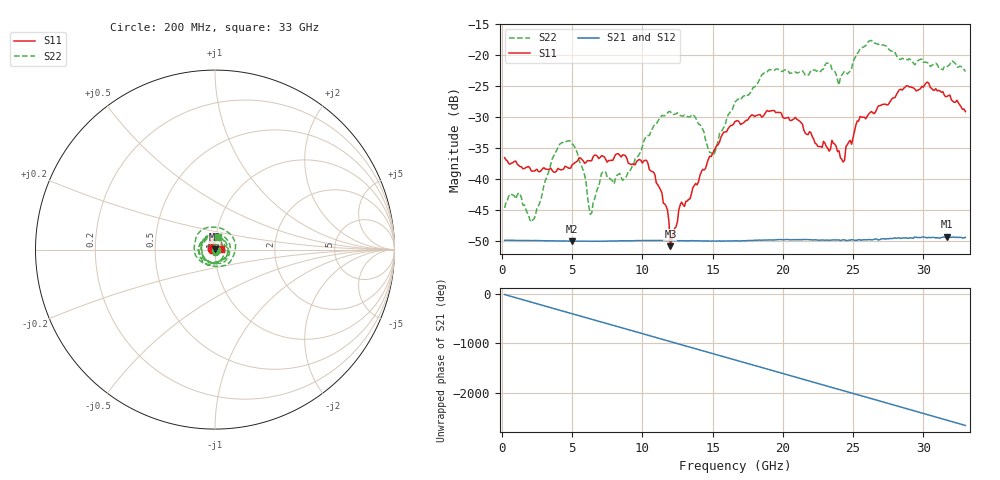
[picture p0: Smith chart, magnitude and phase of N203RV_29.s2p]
# GHZ S RI R 50
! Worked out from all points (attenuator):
!   329 points, 200 MHz to 33 GHz, reference 50 ohm
!   highest |S21| = -49.38 dB at 31.7 GHz (marker M1); lowest = -50.1 dB at 5 GHz (marker M2)
!   lowest |S11| = -50.9 dB at 12 GHz (marker M3), VSWR 1.01, Z = 49.7 + j0.0988 ohm
!   |S11| at or under -10 dB: start of sweep to end of sweep
!   |S22| runs from -47.0 to -17.6 dB; largest |S21 - S12| = 7.2e-05
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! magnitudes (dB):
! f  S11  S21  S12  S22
! 200 MHz  -36.6  -50.0  -49.9  -44.7
! 1.2 GHz  -37.8  -50.0  -49.9  -42.3
! 2.1 GHz  -38.7  -50.0  -50.0  -47.0
! 4.1 GHz  -38.5  -50.1  -50.0  -34.4
! 5 GHz  -37.7  -50.1  -50.1  -34.3
! 5.7 GHz  -36.9  -50.1  -50.1  -38.0
! 6.3 GHz  -37.1  -50.1  -50.1  -45.7
! 7.1 GHz  -36.3  -50.1  -50.1  -39.1
! 8.8 GHz  -36.3  -50.0  -50.0  -39.9
! 11.2 GHz  -41.4  -50.0  -50.0  -30.3
! 11.8 GHz  -45.1  -50.0  -49.9  -29.3
! 12 GHz  -50.9  -50.0  -50.0  -29.1
! 12.7 GHz  -44.2  -50.0  -50.0  -29.7
! 15.1 GHz  -35.4  -50.1  -50.1  -36.2
! 16.6 GHz  -30.7  -50.0  -50.0  -27.6
! 19.4 GHz  -28.9  -49.9  -49.9  -22.4
! 22.1 GHz  -33.2  -49.9  -49.8  -22.4
! 24.3 GHz  -37.3  -49.9  -49.9  -22.9
! 25.5 GHz  -29.9  -49.9  -49.9  -18.9
! 27.6 GHz  -27.6  -49.6  -49.7  -19.1
! 31.7 GHz  -26.6  -49.4  -49.5  -21.8
! 33 GHz  -29.1  -49.5  -49.5  -22.6
